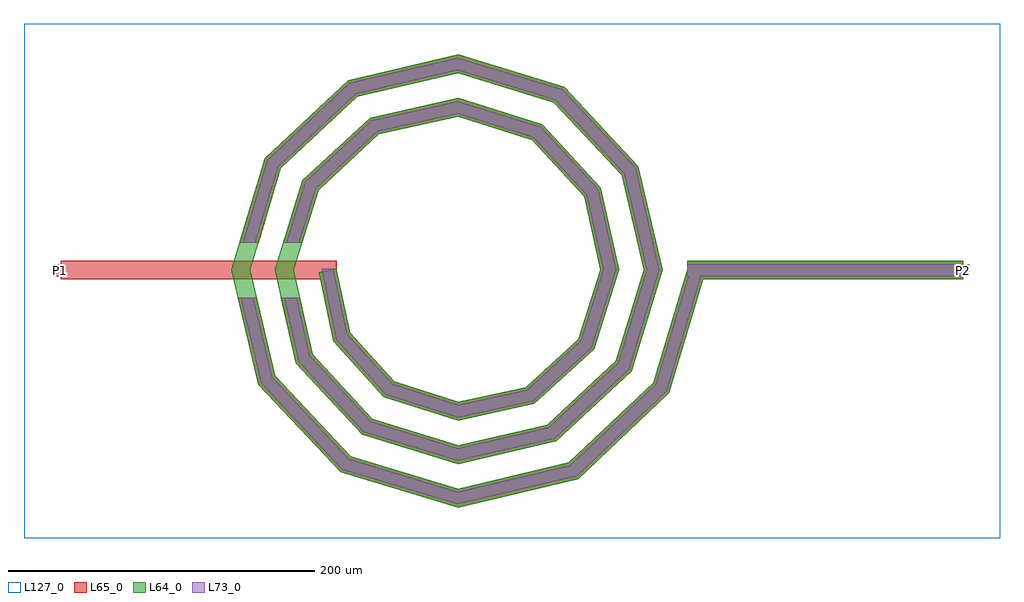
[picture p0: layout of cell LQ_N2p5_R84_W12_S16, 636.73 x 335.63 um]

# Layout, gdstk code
import gdstk
lib = gdstk.Library(unit=1e-6, precision=1e-09)
def R(c, l, rs):  # rectangles x0, y0, x1, y1
    for r in rs: c.add(gdstk.rectangle(r[:2], r[2:], *l))
def P(c, l, *ps):  # polygons
    for p in ps: c.add(gdstk.Polygon(p, *l))
L64_0 = (64, 0)
L65_0 = (65, 0)
L73_0 = (73, 0)
L127_0 = (127, 0)

lq_n2p5_r84_w12_s16 = lib.new_cell('LQ_N2p5_R84_W12_S16')
R(lq_n2p5_r84_w12_s16, L64_0, [(149.768,-6,329.768,6)])
P(lq_n2p5_r84_w12_s16, L64_0, [(-70.095,-40.831),(-41.476,-72.448),(0.297,-85.839),(44.35,-76.238),(78.568,-45.035),(92.919,0.276),(82.379,47.873),(48.591,84.689),(0.257,99.999),(-51.397,88.519),(-90.812,52.146),(-107.078,0.241),(-94.658,-54.924),(-55.699,-96.936),(0.227,-114.158),(58.452,-100.796),(103.061,-59.25),(121.238,0.215),(106.934,61.982),(62.8,109.187),(0.203,128.318),(-65.512,113.071),(-115.313,66.349),(-135.399,0.193),(-119.207,-69.044),(-69.897,-121.44),(0.184,-142.479),(72.576,-125.343),(127.567,-73.445),(150.019,1.717),(161.517,-1.717),(138.144,-79.963),(78.472,-136.28),(0.184,-154.897),(-76.43,-132.008),(-130.152,-74.924),(-147.817,0.193),(-125.871,72.898),(-71.375,124.025),(0.203,140.736),(69.367,119.734),(117.898,67.825),(133.655,0.215),(113.596,-65.837),(64.274,-111.772),(0.227,-126.575),(-62.308,-107.457),(-105.647,-60.722),(-119.494,0.241),(-101.317,58.78),(-57.168,99.522),(0.257,112.413),(55.254,95.177),(93.399,53.613),(105.332,0.276),(89.035,-51.73),(50.055,-87.276),(0.297,-98.25),(-48.209,-82.891),(-81.155,-46.494),(-90.832,-1.255),(-79.097,1.255)])
R(lq_n2p5_r84_w12_s16, L65_0, [(-258.965,-6,-78.965,6), (149.768,-6,329.768,6), (-262.965,-4,-254.965,4), (325.768,-4,333.768,4)])
P(lq_n2p5_r84_w12_s16, L65_0, [(-119.207,-69.044),(-69.897,-121.44),(0.184,-142.479),(72.576,-125.344),(127.567,-73.445),(150.019,1.717),(161.517,-1.717),(138.144,-79.963),(78.472,-136.28),(0.184,-154.897),(-76.43,-132.008),(-130.152,-74.924),(-143.538,-18),(-131.211,-18)],
  [(-94.658,-54.924),(-55.699,-96.936),(0.227,-114.158),(58.452,-100.796),(103.061,-59.25),(121.238,0.215),(106.934,61.982),(62.8,109.187),(0.203,128.318),(-65.512,113.071),(-115.313,66.349),(-129.907,18),(-142.442,18),(-125.871,72.898),(-71.375,124.025),(0.203,140.736),(69.367,119.734),(117.898,67.825),(133.655,0.215),(113.596,-65.837),(64.275,-111.772),(0.227,-126.575),(-62.308,-107.457),(-105.647,-60.722),(-115.351,-18),(-103.045,-18)],
  [(-41.476,-72.448),(0.297,-85.839),(44.35,-76.238),(78.568,-45.035),(92.919,0.276),(82.379,47.873),(48.591,84.689),(0.257,99.999),(-51.397,88.519),(-90.812,52.146),(-101.414,18),(-113.98,18),(-101.317,58.78),(-57.169,99.522),(0.257,112.413),(55.254,95.177),(93.399,53.613),(105.332,0.276),(89.035,-51.73),(50.055,-87.276),(0.297,-98.251),(-48.209,-82.891),(-81.156,-46.494),(-90.832,-1.255),(-79.097,1.255),(-70.095,-40.831)])
R(lq_n2p5_r84_w12_s16, L73_0, [(149.768,-4,329.768,4)])
P(lq_n2p5_r84_w12_s16, L73_0, [(-121.032,-70.024),(-70.986,-123.201),(0.123,-144.548),(73.559,-127.166),(129.33,-74.531),(151.936,1.145),(159.601,-1.145),(136.381,-78.877),(77.489,-134.457),(0.123,-152.828),(-75.342,-130.246),(-128.328,-73.944),(-141.484,-18),(-133.266,-18)],
  [(-96.49,-55.89),(-56.8,-98.69),(0.151,-116.228),(59.423,-102.626),(104.817,-60.348),(123.308,0.143),(108.761,62.956),(63.895,110.944),(0.136,130.388),(-66.489,114.897),(-117.073,67.441),(-131.996,18),(-140.353,18),(-124.111,71.807),(-70.398,122.199),(0.136,138.666),(68.273,117.976),(116.071,66.851),(131.586,0.143),(111.84,-64.739),(63.304,-109.943),(0.151,-124.505),(-61.206,-105.703),(-103.815,-59.756),(-113.3,-18),(-105.096,-18)],
  [(-42.598,-74.188),(0.198,-87.908),(45.301,-78.078),(80.312,-46.151),(94.988,0.184),(84.216,48.829),(49.702,86.437),(0.172,102.068),(-52.359,90.353),(-92.563,53.252),(-103.509,18),(-111.885,18),(-99.566,57.674),(-56.207,97.689),(0.172,110.344),(54.144,93.429),(91.562,52.656),(103.263,0.184),(87.29,-50.614),(49.104,-85.437),(0.198,-96.182),(-47.087,-81.15),(-79.312,-45.55),(-88.876,0.837),(-81.053,0.837),(-71.939,-41.775)])
R(lq_n2p5_r84_w12_s16, L127_0, [(-282.965,-174.897,353.768,160.736)])
lq_n2p5_r84_w12_s16.add(gdstk.Label('P2', (329.768,0), layer=65, texttype=0))
lq_n2p5_r84_w12_s16.add(gdstk.Label('P1', (-258.965,0), layer=65, texttype=0))
lq_n2p5_r84_w12_s16.add(gdstk.Label('P2', (333.768,0), layer=145, texttype=0))
lq_n2p5_r84_w12_s16.add(gdstk.Label('P1', (-262.965,0), layer=145, texttype=0))

lib.write_gds('LQ_N2p5_R84_W12_S16.gds')
